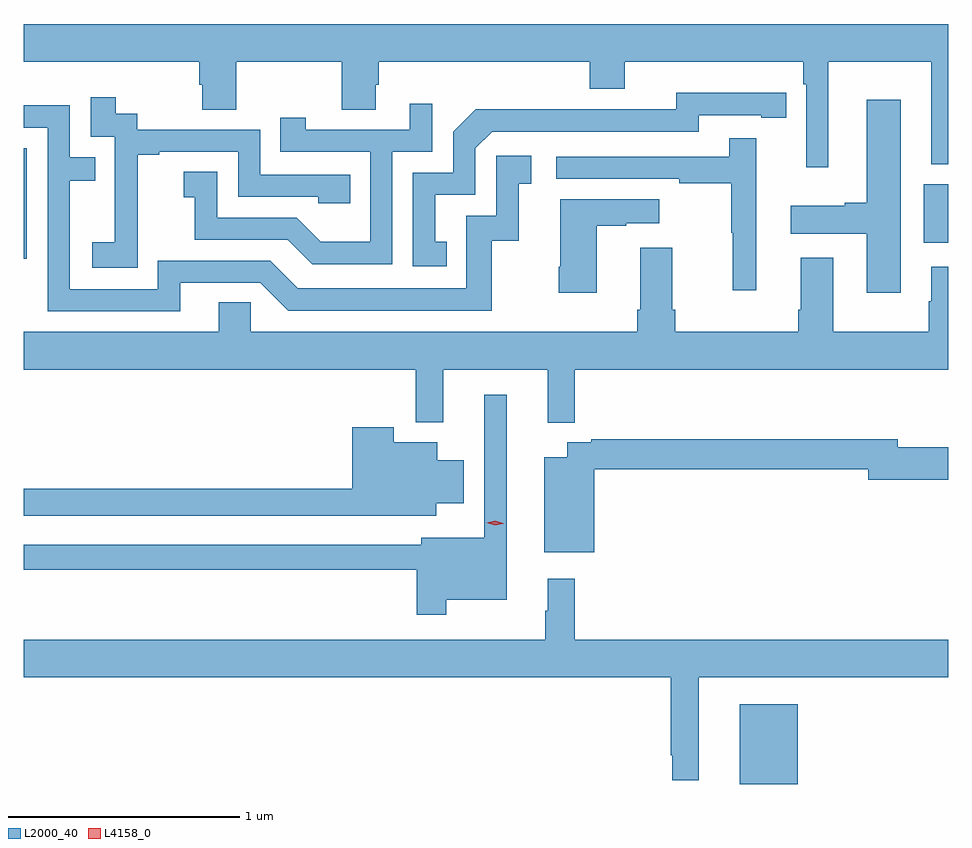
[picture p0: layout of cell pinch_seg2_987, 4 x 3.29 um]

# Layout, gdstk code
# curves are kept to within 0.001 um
import gdstk
lib = gdstk.Library(unit=1e-6, precision=1e-09)
def R(c, l, rs):  # rectangles x0, y0, x1, y1
    for r in rs: c.add(gdstk.rectangle(r[:2], r[2:], *l))
def P(c, l, *ps):  # polygons
    for p in ps: c.add(gdstk.Polygon(p, *l))
L2000_40 = (2000, 40)
L4158_0 = (4158, 0)

pinch_seg2_987 = lib.new_cell('pinch_seg2_987')
R(pinch_seg2_987, L2000_40, [(219.401,615.207,219.652,615.553), (216.302,617.481,216.315,617.958), (220.196,617.549,220.302,617.803)])
P(pinch_seg2_987, L2000_40, [(219.784,618.332),(220.229,618.332),(220.229,617.888),(220.302,617.888),(220.302,618.496),(216.302,618.496),(216.302,618.332),(217.061,618.332),(217.061,618.234),(217.073,618.234),(217.073,618.124),(217.221,618.124),(217.221,618.332),(217.678,618.332),(217.678,618.124),(217.825,618.124),(217.825,618.234),(217.838,618.234),(217.838,618.332),(218.75,618.332),(218.75,618.215),(218.902,618.215),(218.902,618.332),(219.674,618.332),(219.674,618.236),(219.687,618.236),(219.687,617.877),(219.784,617.877)],
  [(218.132,617.553),(218.083,617.553),(218.083,617.757),(218.256,617.757),(218.256,617.958),(218.328,618.03),(219.222,618.03),(219.222,618.102),(219.494,618.102),(219.494,618.09),(219.602,618.09),(219.602,618.198),(219.126,618.199),(219.126,618.126),(218.666,618.126),(218.666,618.128),(218.258,618.128),(218.16,618.03),(218.16,617.853),(217.986,617.853),(217.986,617.448),(218.132,617.448)],
  [(216.795,617.647),(216.794,617.647),(216.794,617.931),(216.889,617.931),(216.889,617.943),(217.23,617.943),(217.23,617.748),(217.575,617.748),(217.575,617.721),(217.715,617.721),(217.715,617.844),(217.326,617.844),(217.326,618.039),(216.792,618.039),(216.792,618.108),(216.7,618.108),(216.7,618.178),(216.591,618.178),(216.591,618.009),(216.696,618.009),(216.696,617.78),(216.695,617.78),(216.695,617.551),(216.597,617.551),(216.597,617.441),(216.795,617.441)],
  [(220.096,618.169),(219.95,618.169),(219.95,617.723),(219.854,617.723),(219.854,617.71),(219.621,617.71),(219.621,617.588),(219.95,617.588),(219.95,617.334),(220.096,617.334)],
  [(217.896,617.943),(218.07,617.943),(218.07,618.151),(217.973,618.151),(217.973,618.039),(217.522,618.039),(217.522,618.091),(217.411,618.091),(217.411,617.943),(217.8,617.943),(217.8,617.554),(217.586,617.554),(217.482,617.658),(217.14,617.658),(217.14,617.857),(216.993,617.857),(216.993,617.747),(217.042,617.747),(217.042,617.562),(217.445,617.562),(217.55,617.457),(217.896,617.457)],
  [(216.979,617.376),(217.326,617.376),(217.446,617.256),(218.326,617.256),(218.326,617.559),(218.444,617.559),(218.444,617.805),(218.497,617.805),(218.497,617.926),(218.346,617.926),(218.346,617.667),(218.217,617.667),(218.217,617.352),(217.488,617.352),(217.368,617.472),(216.882,617.472),(216.882,617.349),(216.501,617.349),(216.501,617.818),(216.611,617.818),(216.611,617.919),(216.501,617.919),(216.501,618.144),(216.302,618.144),(216.302,618.048),(216.405,618.048),(216.405,617.253),(216.979,617.253)],
  [(219.472,618.001),(219.355,618.001),(219.355,617.922),(218.607,617.922),(218.607,617.826),(219.139,617.826),(219.139,617.806),(219.363,617.806),(219.363,617.592),(219.37,617.592),(219.37,617.343),(219.472,617.343)],
  [(218.782,617.623),(218.909,617.623),(218.909,617.633),(219.052,617.633),(219.052,617.737),(218.624,617.737),(218.624,617.446),(218.617,617.446),(218.617,617.334),(218.782,617.334)],
  [(218.687,617),(220.302,617),(220.302,617.446),(220.229,617.446),(220.229,617.297),(220.219,617.297),(220.219,617.164),(219.805,617.164),(219.805,617.485),(219.665,617.485),(219.665,617.26),(219.653,617.26),(219.653,617.164),(219.122,617.164),(219.122,617.26),(219.109,617.26),(219.109,617.527),(218.969,617.527),(218.969,617.26),(218.957,617.26),(218.957,617.164),(217.284,617.164),(217.284,617.291),(217.145,617.291),(217.145,617.164),(216.302,617.164),(216.302,617),(217.999,617),(217.999,616.772),(218.117,616.772),(218.117,617),(218.57,617),(218.57,616.771),(218.687,616.771)],
  [(218.131,616.004),(218.392,616.004),(218.392,616.891),(218.295,616.891),(218.295,616.273),(218.021,616.273),(218.021,616.242),(216.302,616.242),(216.302,616.134),(218.002,616.134),(218.002,615.939),(218.131,615.939)],
  [(218.086,616.421),(218.206,616.421),(218.206,616.609),(218.092,616.609),(218.092,616.687),(217.902,616.687),(217.902,616.75),(217.724,616.75),(217.724,616.484),(216.302,616.484),(216.302,616.368),(217.84,616.368),(217.84,616.367),(218.086,616.367)],
  [(218.77,616.57),(219.956,616.57),(219.956,616.523),(220.302,616.523),(220.302,616.665),(220.084,616.665),(220.084,616.699),(218.758,616.699),(218.758,616.686),(218.654,616.686),(218.654,616.621),(218.555,616.621),(218.555,616.211),(218.77,616.211)],
  [(219.223,615.668),(220.302,615.668),(220.302,615.832),(218.687,615.832),(218.687,616.096),(218.57,616.096),(218.57,615.956),(218.559,615.956),(218.559,615.832),(216.302,615.832),(216.302,615.668),(219.102,615.668),(219.102,615.331),(219.108,615.331),(219.108,615.224),(219.223,615.224)])
P(pinch_seg2_987, L4158_0, [(218.34,616.326),(218.305,616.338),(218.305,616.338),(218.305,616.338),(218.341,616.346),(218.376,616.335),(218.376,616.335),(218.376,616.334)])

lib.write_gds('pinch_seg2_987.gds')
